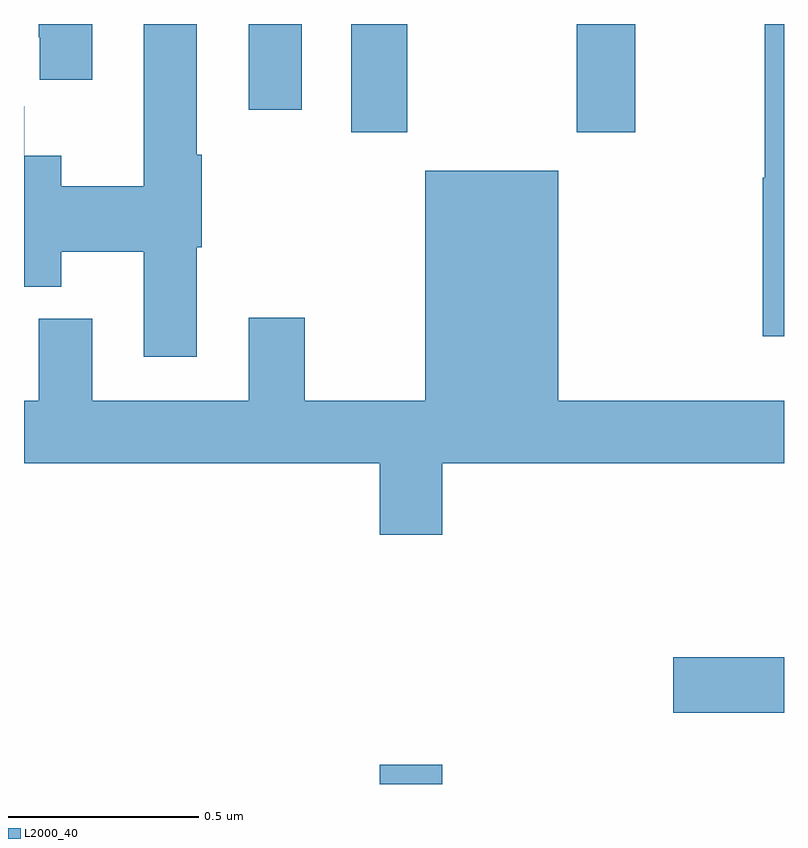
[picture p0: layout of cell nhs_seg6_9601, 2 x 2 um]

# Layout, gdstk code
import gdstk
lib = gdstk.Library(unit=1e-6, precision=1e-09)
def R(c, l, rs):  # rectangles x0, y0, x1, y1
    for r in rs: c.add(gdstk.rectangle(r[:2], r[2:], *l))
def P(c, l, *ps):  # polygons
    for p in ps: c.add(gdstk.Polygon(p, *l))
L2000_40 = (2000, 40)

nhs_seg6_9601 = lib.new_cell('nhs_seg6_9601')
R(nhs_seg6_9601, L2000_40, [(236.936,938.5,237.1,938.551), (237.708,938.687,238,938.834), (236.861,940.215,237.009,940.5), (237.454,940.215,237.609,940.5), (236.591,940.275,236.731,940.5)])
P(nhs_seg6_9601, L2000_40, [(236.179,940.5),(236.039,940.5),(236.039,940.465),(236.042,940.465),(236.042,940.353),(236.179,940.353)],
  [(236.455,939.912),(236.468,939.912),(236.468,940.156),(236.455,940.156),(236.455,940.5),(236.315,940.5),(236.315,940.073),(236.098,940.073),(236.098,940.153),(236.001,940.153),(236.001,940.283),(236,940.283),(236,939.809),(236.098,939.809),(236.098,939.901),(236.315,939.901),(236.315,939.624),(236.455,939.624)],
  [(238,940.5),(237.949,940.5),(237.949,940.095),(237.944,940.095),(237.944,939.678),(238,939.678)],
  [(237.1,939.344),(238,939.344),(238,939.508),(237.406,939.508),(237.406,940.114),(237.056,940.114),(237.056,939.508),(236.739,939.508),(236.739,939.727),(236.591,939.727),(236.591,939.508),(236.179,939.508),(236.179,939.724),(236.039,939.724),(236.039,939.508),(236,939.508),(236,939.344),(236.936,939.344),(236.936,939.156),(237.1,939.156)])

lib.write_gds('nhs_seg6_9601.gds')
